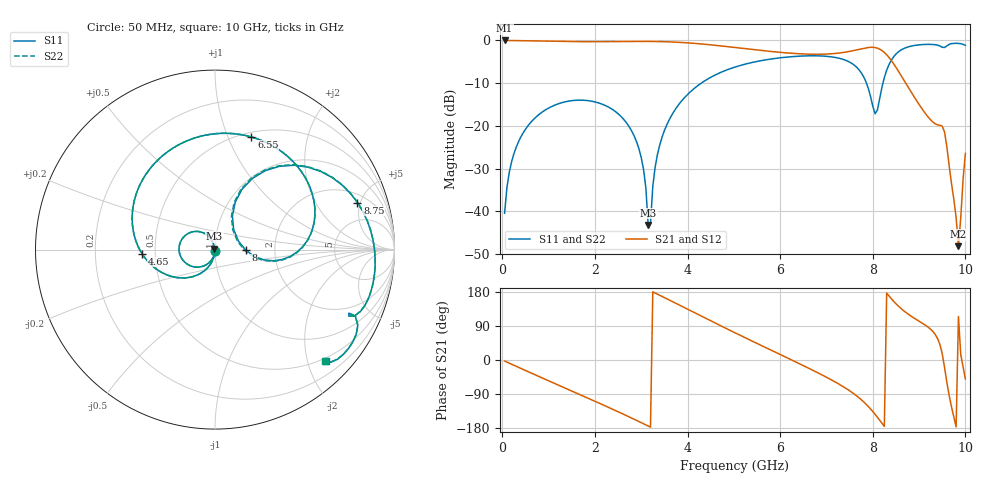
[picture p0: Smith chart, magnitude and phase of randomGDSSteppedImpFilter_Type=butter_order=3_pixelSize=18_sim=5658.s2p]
! freq	dB(S11)	phase(S11)	dB(S12)	phase(S12)
!  dB(S21)	phase(S21)	dB(S22)	phase(S22)
!S-par simulation data
#  GHz  S  DB  R 50
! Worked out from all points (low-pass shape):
!   200 points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, 50 MHz to 10 GHz, reference 50 ohm
!   highest |S21| = 0.00 dB at 50 MHz (marker M1); lowest = -48.1 dB at 9.85 GHz (marker M2)
!   |S21| within 3 dB of the highest: start of sweep to 6.245 GHz; 7.228 GHz to 8.268 GHz (1.04 GHz wide, 13.4 % of centre)
!   lowest |S11| = -43.2 dB at 3.15 GHz (marker M3), VSWR 1.01, Z = 49.7 + j0.602 ohm
!   |S11| at or under -10 dB: start of sweep to 4.295 GHz; 7.863 GHz to 8.219 GHz (356.1 MHz wide, 4.43 % of centre)
!   |S22| runs from -43.5 to -0.7 dB; largest |S21 - S12| = 0
!   S11 on the Smith chart (normalised r, x): 50 MHz: 1.00, -0.02; 4.65 GHz: 0.42, -0.02; 6.55 GHz: 0.55, +1.22; 8 GHz: 1.41, -0.01; 8.75 GHz: 2.70, +4.71; 10 GHz: 0.44, -2.33
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0.05  -40.42 -92.4  -0.00 -2.8  -0.00 -2.8  -40.42 -92.4
0.2  -28.44 -101.2  -0.02 -11.1  -0.02 -11.1  -28.44 -101.2
0.5  -20.79 -118.1  -0.07 -27.7  -0.07 -27.7  -20.79 -118.1
1.75  -13.98 174.1  -0.29 -95.3  -0.29 -95.3  -13.98 174.0
2.8  -21.30 117.1  -0.22 -153.6  -0.22 -153.6  -21.31 116.6
3.05  -30.18 105.9  -0.22 -168.3  -0.22 -168.3  -30.19 104.4
3.15  -43.17 119.2  -0.22 -174.2  -0.22 -174.2  -43.55 112.4
3.4  -24.43 -102.9  -0.26 170.8  -0.26 170.8  -24.44 -102.1
3.85  -14.44 -128.5  -0.46 143.3  -0.46 143.3  -14.44 -128.2
4.65  -7.81 -176.8  -1.20 94.3  -1.20 94.3  -7.81 -176.6
5.05  -6.14 159.4  -1.68 70.3  -1.68 70.3  -6.14 159.5
5.8  -4.35 115.6  -2.58 26.2  -2.58 26.2  -4.35 115.7
6.55  -3.61 72.1  -3.19 -17.7  -3.19 -17.7  -3.62 72.1
6.7  -3.59 63.3  -3.23 -26.8  -3.23 -26.8  -3.59 63.3
7.45  -4.80 15.9  -2.66 -77.1  -2.66 -77.1  -4.81 15.7
8  -15.37 -0.9  -1.61 -135.8  -1.61 -135.8  -15.56 -1.9
8.1  -16.28 47.4  -1.81 -151.0  -1.81 -151.0  -16.55 48.3
8.35  -5.66 57.5  -3.97 169.2  -3.97 169.2  -5.68 58.1
8.75  -1.56 18.3  -10.67 122.3  -10.67 122.3  -1.56 18.6
9.55  -1.66 -25.4  -21.43 -19.6  -21.43 -19.6  -1.61 -25.3
9.85  -0.69 -39.2  -48.13 114.7  -48.13 114.7  -0.70 -39.3
10  -1.15 -45.3  -26.42 -50.0  -26.42 -50.0  -1.19 -45.3
